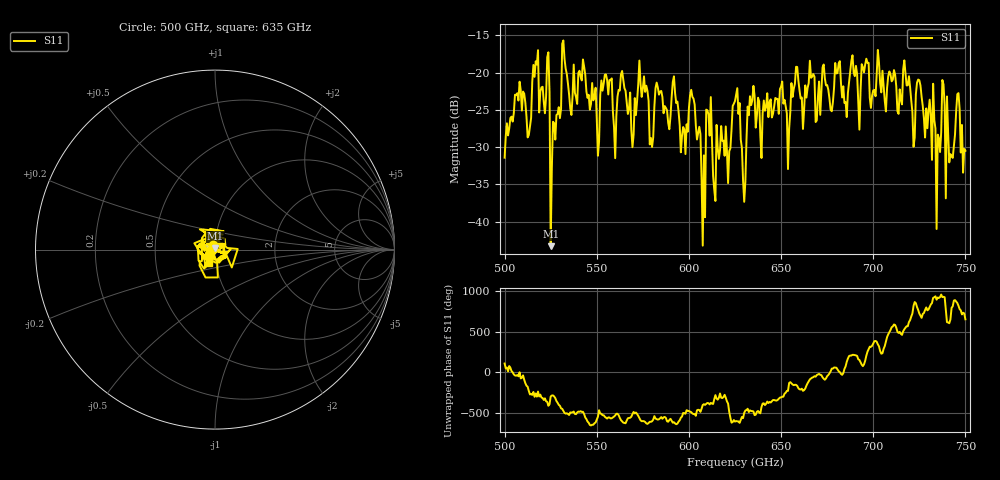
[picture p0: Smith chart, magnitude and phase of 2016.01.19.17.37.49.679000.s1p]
!Created with skrf (http://scikit-rf.org).
# GHz S RI R 50.0
!freq ReS11 ImS11
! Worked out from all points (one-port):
!   401 points, 500 GHz to 750 GHz, reference 50 ohm
!   lowest |S11| = -43.3 dB at 525 GHz (marker M1), VSWR 1.01, Z = 50.3 + j0.632 ohm
!   |S11| at or under -10 dB: start of sweep to end of sweep
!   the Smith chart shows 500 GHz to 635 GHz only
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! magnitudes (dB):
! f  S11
! 500 GHz  -31.4
! 506.9 GHz  -22.8
! 513.1 GHz  -28.4
! 516.9 GHz  -18.5
! 523.1 GHz  -18.0
! 525 GHz  -43.3
! 531.2 GHz  -16.1
! 550 GHz  -26.2
! 562.5 GHz  -22.4
! 570 GHz  -28.3
! 574.4 GHz  -23.3
! 580 GHz  -30.0
! 583.1 GHz  -22.0
! 593.8 GHz  -23.9
! 596.9 GHz  -27.3
! 601.9 GHz  -23.3
! 607.5 GHz  -43.2
! 610.6 GHz  -25.6
! 614.4 GHz  -37.2
! 625 GHz  -23.8
! 629.4 GHz  -34.5
! 634.4 GHz  -23.7
! 656.2 GHz  -23.3
! 687.5 GHz  -19.9
! 718.8 GHz  -21.7
! 735 GHz  -28.3
! 745.6 GHz  -22.9
! 750 GHz  -30.5
